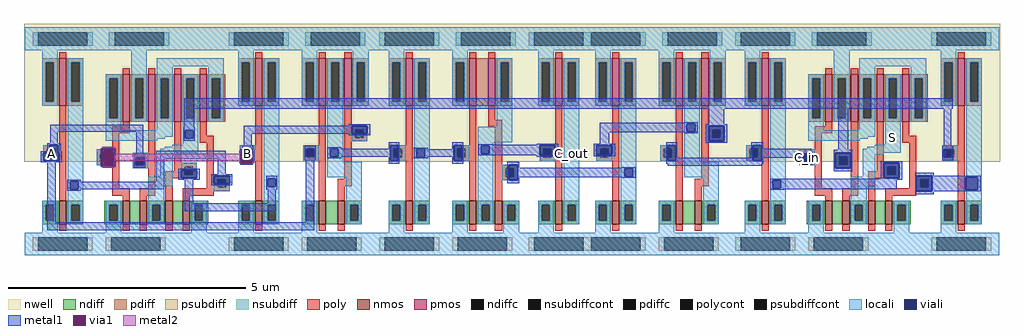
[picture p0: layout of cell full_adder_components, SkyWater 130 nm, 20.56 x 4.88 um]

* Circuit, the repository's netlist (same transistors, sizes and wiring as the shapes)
* NGSPICE file created from full_adder_components.ext - technology: sky130A

.subckt xor2 VDD GND Y A B NOT_A NOT_B
X0 a_94_6# B GND GND sky130_fd_pr__nfet_01v8 ad=1.05e+11p pd=1.42e+06u as=3.9e+11p ps=3.56e+06u w=500000u l=150000u
X1 a_274_6# NOT_B Y GND sky130_fd_pr__nfet_01v8 ad=1.05e+11p pd=1.42e+06u as=1.95e+11p ps=1.78e+06u w=500000u l=150000u
X2 Y A a_94_6# GND sky130_fd_pr__nfet_01v8 ad=0p pd=0u as=0p ps=0u w=500000u l=150000u
X3 a_n8_438# A VDD VDD sky130_fd_pr__pfet_01v8 ad=1.14e+12p pd=8.28e+06u as=3.9e+11p ps=2.78e+06u w=1e+06u l=150000u
X4 Y NOT_B a_n8_438# VDD sky130_fd_pr__pfet_01v8 ad=3.9e+11p pd=2.78e+06u as=0p ps=0u w=1e+06u l=150000u
X5 GND NOT_A a_274_6# GND sky130_fd_pr__nfet_01v8 ad=0p pd=0u as=0p ps=0u w=500000u l=150000u
X6 a_n8_438# NOT_A Y VDD sky130_fd_pr__pfet_01v8 ad=0p pd=0u as=0p ps=0u w=1e+06u l=150000u
X7 VDD B a_n8_438# VDD sky130_fd_pr__pfet_01v8 ad=0p pd=0u as=0p ps=0u w=1e+06u l=150000u
.ends

.subckt nor2 VDD GND Y A B
X0 Y A GND GND sky130_fd_pr__nfet_01v8 ad=1.95e+11p pd=1.78e+06u as=3.6e+11p ps=3.44e+06u w=500000u l=150000u
X1 GND B Y GND sky130_fd_pr__nfet_01v8 ad=0p pd=0u as=0p ps=0u w=500000u l=150000u
X2 Y B a_94_506# VDD sky130_fd_pr__pfet_01v8 ad=3.6e+11p pd=2.72e+06u as=2.5e+11p ps=2.5e+06u w=1e+06u l=150000u
X3 a_94_506# A VDD VDD sky130_fd_pr__pfet_01v8 ad=0p pd=0u as=3.6e+11p ps=2.72e+06u w=1e+06u l=150000u
.ends

.subckt inv VDD GND Y A
X0 Y A GND GND sky130_fd_pr__nfet_01v8 ad=1.8e+11p pd=1.72e+06u as=1.8e+11p ps=1.72e+06u w=500000u l=150000u
X1 Y A VDD VDD sky130_fd_pr__pfet_01v8 ad=3.6e+11p pd=2.72e+06u as=3.6e+11p ps=2.72e+06u w=1e+06u l=150000u
.ends

.subckt nand2 VDD GND Y A B
X0 a_94_6# A GND GND sky130_fd_pr__nfet_01v8 ad=1.25e+11p pd=1.5e+06u as=1.8e+11p ps=1.72e+06u w=500000u l=150000u
X1 VDD B Y VDD sky130_fd_pr__pfet_01v8 ad=7.2e+11p pd=5.44e+06u as=3.9e+11p ps=2.78e+06u w=1e+06u l=150000u
X2 Y A VDD VDD sky130_fd_pr__pfet_01v8 ad=0p pd=0u as=0p ps=0u w=1e+06u l=150000u
X3 Y B a_94_6# GND sky130_fd_pr__nfet_01v8 ad=1.8e+11p pd=1.72e+06u as=0p ps=0u w=500000u l=150000u
.ends

*.subckt full_adder_components S A B C_in C_out
Xxor2_0 inv_6/VDD inv_6/GND inv_6/A A B inv_1/Y inv_0/Y xor2
Xxor2_1 inv_6/VDD inv_6/GND S inv_6/A C_in inv_6/Y inv_5/Y xor2
Xnor2_0 inv_6/VDD inv_6/GND inv_3/A inv_2/Y inv_4/Y nor2
Xinv_0 inv_6/VDD inv_6/GND inv_0/Y B inv
Xinv_1 inv_6/VDD inv_6/GND inv_1/Y A inv
Xinv_2 inv_6/VDD inv_6/GND inv_2/Y inv_2/A inv
Xinv_3 inv_6/VDD inv_6/GND C_out inv_3/A inv
Xinv_4 inv_6/VDD inv_6/GND inv_4/Y inv_4/A inv
Xinv_5 inv_6/VDD inv_6/GND inv_5/Y C_in inv
Xinv_6 inv_6/VDD inv_6/GND inv_6/Y inv_6/A inv
Xnand2_0 inv_6/VDD inv_6/GND inv_2/A A B nand2
Xnand2_1 inv_6/VDD inv_6/GND inv_4/A C_in inv_6/A nand2
*.ends

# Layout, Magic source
magic
tech sky130A
magscale 1 2
<< poly >>
rect 1716 104 1746 106
<< locali >>
rect -264 864 3840 960
rect -186 433 -159 464
rect -125 433 -120 464
rect -84 312 -18 630
rect 400 528 466 562
rect 400 494 412 528
rect 446 494 466 528
rect 38 380 70 446
rect 400 432 466 494
rect 640 449 706 464
rect 640 434 657 449
rect 190 414 256 432
rect 190 380 203 414
rect 237 380 256 414
rect 640 398 650 434
rect 691 415 706 449
rect 690 398 706 415
rect 190 366 256 380
rect 394 359 460 390
rect -84 278 -74 312
rect -40 278 -18 312
rect -84 230 -18 278
rect 532 270 598 302
rect 742 323 808 630
rect 908 449 974 464
rect 908 415 921 449
rect 955 415 974 449
rect 908 398 974 415
rect 1010 449 1076 630
rect 1112 480 1178 512
rect 1010 415 1022 449
rect 1056 415 1076 449
rect 1010 328 1076 415
rect 1308 398 1340 464
rect 1376 448 1442 630
rect 1376 414 1387 448
rect 1421 414 1442 448
rect 742 289 759 323
rect 793 289 808 323
rect 742 230 808 289
rect 1376 230 1442 414
rect 1576 398 1608 464
rect 1644 461 1710 542
rect 1644 427 1658 461
rect 1692 427 1710 461
rect 1644 230 1710 427
rect 1904 398 1970 422
rect 1746 316 1774 382
rect 2006 230 2072 630
rect 2144 398 2210 424
rect 2246 366 2312 630
rect 2514 555 2580 630
rect 2514 521 2525 555
rect 2559 521 2580 555
rect 2412 398 2444 464
rect 2246 332 2263 366
rect 2297 332 2312 366
rect 2246 230 2312 332
rect 2514 328 2580 521
rect 2774 398 2802 464
rect 2876 317 2942 630
rect 2998 427 3064 446
rect 3360 432 3426 562
rect 3600 447 3666 464
rect 2998 393 3013 427
rect 3047 393 3064 427
rect 2998 380 3064 393
rect 3600 413 3606 447
rect 3640 413 3666 447
rect 3600 398 3666 413
rect 2876 283 2887 317
rect 2921 283 2942 317
rect 2876 230 2942 283
rect 3702 330 3768 630
rect 3751 276 3768 330
rect 3702 230 3768 276
rect -264 0 3840 96
<< viali >>
rect -159 433 -125 466
rect -186 398 -120 433
rect 412 494 446 528
rect 70 380 104 446
rect 657 434 691 449
rect 203 380 237 414
rect 650 415 691 434
rect 650 394 690 415
rect 394 324 460 359
rect -74 278 -40 312
rect 532 302 598 336
rect 921 415 955 449
rect 1112 512 1178 546
rect 1022 415 1056 449
rect 1274 398 1308 464
rect 1387 414 1421 448
rect 759 289 793 323
rect 1542 398 1576 464
rect 1658 427 1692 461
rect 1904 422 1970 464
rect 1774 316 1812 382
rect 2144 424 2210 464
rect 2525 521 2559 555
rect 2444 398 2478 464
rect 2263 332 2297 366
rect 2616 480 2682 546
rect 2802 398 2840 464
rect 3013 393 3047 427
rect 3150 366 3216 432
rect 3606 413 3640 447
rect 3354 324 3420 390
rect 2887 283 2921 317
rect 3492 270 3558 336
rect 3697 276 3751 330
<< metal1 >>
rect 407 618 3645 661
rect -157 520 235 551
rect 407 540 450 618
rect 2513 558 2571 561
rect 2157 555 2571 558
rect 1100 546 1190 552
rect -157 472 -126 520
rect -171 466 -113 472
rect -171 439 -159 466
rect -198 433 -159 439
rect -125 439 -113 466
rect 64 452 110 458
rect -125 433 -108 439
rect -198 398 -186 433
rect -120 398 -108 433
rect -198 392 -108 398
rect -170 140 -135 392
rect 55 374 61 452
rect 113 374 119 452
rect 204 426 235 520
rect 406 528 452 540
rect 406 494 412 528
rect 446 494 452 528
rect 406 482 452 494
rect 657 512 1112 546
rect 1178 512 1190 546
rect 657 461 691 512
rect 1100 506 1190 512
rect 2157 521 2525 555
rect 2559 521 2571 555
rect 2617 552 2682 618
rect 2157 518 2571 521
rect 1268 464 1314 476
rect 651 449 697 461
rect 651 446 657 449
rect 644 440 657 446
rect 691 440 697 449
rect 197 414 243 426
rect 197 380 203 414
rect 237 380 243 414
rect 64 368 110 374
rect 197 368 243 380
rect 290 407 582 440
rect -86 312 -28 318
rect -86 278 -74 312
rect -40 311 -28 312
rect 290 311 323 407
rect 382 359 472 365
rect 382 324 394 359
rect 460 324 472 359
rect 549 342 582 407
rect 696 403 697 440
rect 915 449 961 461
rect 915 415 921 449
rect 955 415 961 449
rect 915 403 961 415
rect 1010 449 1068 455
rect 1010 415 1022 449
rect 1056 448 1068 449
rect 1268 448 1274 464
rect 1056 415 1274 448
rect 1010 409 1068 415
rect 644 382 696 388
rect 382 318 472 324
rect 520 336 610 342
rect -40 278 323 311
rect -86 272 -28 278
rect 410 220 445 318
rect 520 302 532 336
rect 598 302 610 336
rect 520 296 610 302
rect 753 323 799 335
rect 753 289 759 323
rect 793 289 799 323
rect 753 277 799 289
rect 758 220 793 277
rect 410 185 793 220
rect 920 140 955 403
rect 1268 398 1274 415
rect 1308 398 1314 464
rect 1536 464 1582 476
rect 2157 470 2197 518
rect 2513 515 2571 518
rect 2604 546 2694 552
rect 2604 480 2616 546
rect 2682 480 2694 546
rect 1375 448 1433 454
rect 1375 414 1387 448
rect 1421 447 1433 448
rect 1536 447 1542 464
rect 1421 415 1542 447
rect 1421 414 1433 415
rect 1375 408 1433 414
rect 1268 386 1314 398
rect 1536 398 1542 415
rect 1576 398 1582 464
rect 1646 465 1704 467
rect 1892 465 1982 470
rect 1646 464 1982 465
rect 1646 461 1904 464
rect 1646 427 1658 461
rect 1692 427 1904 461
rect 1646 422 1904 427
rect 1970 422 1982 464
rect 1646 421 1704 422
rect 1892 416 1982 422
rect 2132 464 2222 470
rect 2132 424 2144 464
rect 2210 424 2222 464
rect 2132 418 2222 424
rect 2438 464 2484 476
rect 2604 474 2694 480
rect 1536 386 1582 398
rect 2438 398 2444 464
rect 2478 411 2484 464
rect 2796 464 2846 476
rect 2796 411 2802 464
rect 2478 398 2802 411
rect 2840 450 2846 464
rect 2840 439 3049 450
rect 3162 444 3205 618
rect 3607 459 3639 618
rect 3600 447 3646 459
rect 2840 427 3053 439
rect 2840 412 3013 427
rect 2840 398 2846 412
rect 1768 382 1818 394
rect 2438 386 2846 398
rect 3007 393 3013 412
rect 3047 393 3053 427
rect 1768 316 1774 382
rect 1812 368 1818 382
rect 2444 377 2841 386
rect 3007 381 3053 393
rect 3144 432 3222 444
rect 2251 368 2309 372
rect 1812 366 2309 368
rect 1812 332 2263 366
rect 2297 332 2309 366
rect 3144 366 3150 432
rect 3216 366 3222 432
rect 3600 413 3606 447
rect 3640 413 3646 447
rect 3600 401 3646 413
rect 3144 354 3222 366
rect 3342 390 3432 396
rect 1812 330 2309 332
rect 1812 316 1818 330
rect 2251 326 2309 330
rect 3342 324 3354 390
rect 3420 324 3432 390
rect 1768 304 1818 316
rect 2875 322 2933 323
rect 3342 322 3432 324
rect 2875 318 3432 322
rect 3486 336 3564 348
rect 2875 317 3409 318
rect 2875 283 2887 317
rect 2921 283 3409 317
rect 2875 278 3409 283
rect 2875 277 2933 278
rect 3486 270 3492 336
rect 3558 330 3763 336
rect 3558 276 3697 330
rect 3751 276 3763 330
rect 3558 270 3763 276
rect 3486 258 3564 270
rect -170 105 955 140
<< via1 >>
rect 61 446 113 452
rect 61 380 70 446
rect 70 380 104 446
rect 104 380 113 446
rect 61 374 113 380
rect 644 434 657 440
rect 657 434 691 440
rect 644 394 650 434
rect 650 415 691 434
rect 691 415 696 440
rect 650 394 690 415
rect 690 394 696 415
rect 644 388 696 394
<< metal2 >>
rect 61 452 113 458
rect 638 428 644 440
rect 113 399 644 428
rect 638 388 644 399
rect 696 388 702 440
rect 61 368 113 374
use inv  inv_0
transform 1 0 642 0 1 124
box -84 -124 242 852
use inv  inv_1
transform 1 0 -184 0 1 124
box -84 -124 242 852
use inv  inv_2
transform 1 0 1276 0 1 124
box -84 -124 242 852
use inv  inv_3
transform 1 0 1906 0 1 124
box -84 -124 242 852
use inv  inv_4
transform 1 0 2146 0 1 124
box -84 -124 242 852
use inv  inv_5
transform 1 0 2776 0 1 124
box -84 -124 242 852
use inv  inv_6
transform 1 0 3602 0 1 124
box -84 -124 242 852
use nand2  nand2_0
transform 1 0 910 0 1 124
box -84 -124 350 852
use nand2  nand2_1
transform 1 0 2414 0 1 124
box -84 -124 350 852
use nor2  nor2_0
transform 1 0 1544 0 1 124
box -84 -124 350 852
use xor2  xor2_0
transform 1 0 84 0 1 124
box -84 -124 566 852
use xor2  xor2_1
transform 1 0 3044 0 1 124
box -84 -124 566 852
<< labels >>
flabel locali s 3360 432 3426 562 0 FreeSerif 320 0 0 0 S
port 0 nsew
flabel locali s 2998 380 3064 446 0 FreeSerif 320 0 0 0 C_in
port 7 nsew
flabel locali s 2006 230 2072 630 0 FreeSerif 320 0 0 0 C_out
port 10 nsew
flabel locali s -186 398 -120 464 0 FreeSerif 320 0 0 0 A
port 1 nsew
flabel locali s 640 398 706 464 0 FreeSerif 320 0 0 0 B
port 2 nsew
<< end >>

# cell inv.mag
magic
tech sky130A
<< nwell >>
rect -42 135 121 426
<< nmos >>
rect 32 3 47 53
<< pmos >>
rect 32 253 47 353
<< ndiff >>
rect -4 45 32 53
rect -4 11 4 45
rect 21 11 32 45
rect -4 3 32 11
rect 47 45 83 53
rect 47 11 58 45
rect 75 11 83 45
rect 47 3 83 11
<< pdiff >>
rect -4 345 32 353
rect -4 261 4 345
rect 21 261 32 345
rect -4 253 32 261
rect 47 345 83 353
rect 47 261 58 345
rect 75 261 83 345
rect 47 253 83 261
<< ndiffc >>
rect 4 11 21 45
rect 58 11 75 45
<< pdiffc >>
rect 4 261 21 345
rect 58 261 75 345
<< psubdiff >>
rect -24 -52 -12 -24
rect 91 -52 103 -24
<< nsubdiff >>
rect -24 380 -12 408
rect 91 380 103 408
<< psubdiffcont >>
rect -12 -52 91 -24
<< nsubdiffcont >>
rect -12 380 91 408
<< poly >>
rect 32 353 47 366
rect 32 170 47 253
rect -1 162 47 170
rect -1 145 7 162
rect 24 145 47 162
rect -1 137 47 145
rect 32 53 47 137
rect 32 -10 47 3
<< polycont >>
rect 7 145 24 162
<< locali >>
rect -40 408 119 418
rect -40 380 -12 408
rect 91 380 119 408
rect -40 370 119 380
rect -4 345 29 370
rect -4 261 4 345
rect 21 261 29 345
rect -4 253 29 261
rect 50 345 83 353
rect 50 261 58 345
rect 75 261 83 345
rect -1 162 32 170
rect -1 145 7 162
rect 24 145 32 162
rect -1 137 32 145
rect -4 45 29 53
rect -4 11 4 45
rect 21 11 29 45
rect -4 -14 29 11
rect 50 45 83 261
rect 50 11 58 45
rect 75 11 83 45
rect 50 3 83 11
rect -40 -24 119 -14
rect -40 -52 -12 -24
rect 91 -52 119 -24
rect -40 -62 119 -52
<< labels >>
flabel locali -40 -62 119 -14 1 FreeSerif 80 0 0 0 GND!
port 1 n
flabel locali 50 53 83 253 1 FreeSerif 80 0 0 0 Y
port 2 n
flabel locali -1 137 32 170 0 FreeSerif 80 0 0 0 A
port 3 nsew
flabel locali -40 370 119 418 0 FreeSerif 80 0 0 0 VDD!
port 0 nsew
<< end >>

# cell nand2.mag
magic
tech sky130A
<< nwell >>
rect -42 135 175 426
<< nmos >>
rect 32 3 47 53
rect 72 3 87 53
<< pmos >>
rect 32 253 47 353
rect 86 253 101 353
<< ndiff >>
rect -4 45 32 53
rect -4 11 4 45
rect 21 11 32 45
rect -4 3 32 11
rect 47 3 72 53
rect 87 45 123 53
rect 87 11 98 45
rect 115 11 123 45
rect 87 3 123 11
<< pdiff >>
rect -4 345 32 353
rect -4 261 4 345
rect 21 261 32 345
rect -4 253 32 261
rect 47 345 86 353
rect 47 261 58 345
rect 75 261 86 345
rect 47 253 86 261
rect 101 345 137 353
rect 101 261 112 345
rect 129 261 137 345
rect 101 253 137 261
<< ndiffc >>
rect 4 11 21 45
rect 98 11 115 45
<< pdiffc >>
rect 4 261 21 345
rect 58 261 75 345
rect 112 261 129 345
<< psubdiff >>
rect -4 -52 8 -24
rect 111 -52 123 -24
<< nsubdiff >>
rect 3 380 15 408
rect 118 380 130 408
<< psubdiffcont >>
rect 8 -52 111 -24
<< nsubdiffcont >>
rect 15 380 118 408
<< poly >>
rect 32 353 47 366
rect 86 353 101 366
rect 32 170 47 253
rect -1 162 47 170
rect -1 145 7 162
rect 24 145 47 162
rect -1 137 47 145
rect 32 53 47 137
rect 86 211 101 253
rect 86 203 134 211
rect 86 186 109 203
rect 126 186 134 203
rect 86 178 134 186
rect 86 99 101 178
rect 72 84 101 99
rect 72 53 87 84
rect 32 -10 47 3
rect 72 -10 87 3
<< polycont >>
rect 7 145 24 162
rect 109 186 126 203
<< locali >>
rect -40 408 173 418
rect -40 380 15 408
rect 118 380 173 408
rect -40 370 173 380
rect -4 345 29 370
rect -4 261 4 345
rect 21 261 29 345
rect -4 253 29 261
rect 50 345 83 353
rect 50 261 58 345
rect 75 261 83 345
rect -1 162 32 170
rect -1 145 7 162
rect 24 145 32 162
rect -1 137 32 145
rect 50 135 83 261
rect 104 345 137 370
rect 104 261 112 345
rect 129 261 137 345
rect 104 253 137 261
rect 101 203 134 211
rect 101 186 109 203
rect 126 186 134 203
rect 101 178 134 186
rect 50 102 123 135
rect -4 45 29 53
rect -4 11 4 45
rect 21 11 29 45
rect -4 -14 29 11
rect 90 45 123 102
rect 90 11 98 45
rect 115 11 123 45
rect 90 3 123 11
rect -40 -24 173 -14
rect -40 -52 8 -24
rect 111 -52 173 -24
rect -40 -62 173 -52
<< labels >>
flabel locali -1 137 32 170 0 FreeSerif 80 0 0 0 A
port 3 nsew
flabel locali 101 178 134 211 0 FreeSerif 80 0 0 0 B
port 8 nsew
flabel locali 50 102 83 253 0 FreeSerif 80 0 0 0 Y
port 2 nsew
flabel locali -40 370 173 418 0 FreeSerif 80 0 0 0 VDD!
port 0 nsew
flabel locali -40 -62 173 -14 0 FreeSerif 80 0 0 0 GND!
port 1 nsew
<< end >>

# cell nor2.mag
magic
tech sky130A
<< nwell >>
rect -42 135 175 426
<< nmos >>
rect 32 3 47 53
rect 86 3 101 53
<< pmos >>
rect 32 253 47 353
rect 72 253 87 353
<< ndiff >>
rect -4 45 32 53
rect -4 11 4 45
rect 21 11 32 45
rect -4 3 32 11
rect 47 45 86 53
rect 47 11 58 45
rect 75 11 86 45
rect 47 3 86 11
rect 101 45 137 53
rect 101 11 112 45
rect 129 11 137 45
rect 101 3 137 11
<< pdiff >>
rect -4 345 32 353
rect -4 261 4 345
rect 21 261 32 345
rect -4 253 32 261
rect 47 253 72 353
rect 87 345 123 353
rect 87 261 98 345
rect 115 261 123 345
rect 87 253 123 261
<< ndiffc >>
rect 4 11 21 45
rect 58 11 75 45
rect 112 11 129 45
<< pdiffc >>
rect 4 261 21 345
rect 98 261 115 345
<< psubdiff >>
rect -4 -52 8 -24
rect 111 -52 123 -24
<< nsubdiff >>
rect 3 380 15 408
rect 118 380 130 408
<< psubdiffcont >>
rect 8 -52 111 -24
<< nsubdiffcont >>
rect 15 380 118 408
<< poly >>
rect 32 353 47 366
rect 72 353 87 366
rect 32 170 47 253
rect 72 224 87 253
rect 72 209 101 224
rect -1 162 47 170
rect -1 145 7 162
rect 24 145 47 162
rect -1 137 47 145
rect 32 53 47 137
rect 86 129 101 209
rect 86 121 134 129
rect 86 104 109 121
rect 126 104 134 121
rect 86 96 134 104
rect 86 53 101 96
rect 32 -10 47 3
rect 86 -9 101 3
<< polycont >>
rect 7 145 24 162
rect 109 104 126 121
<< locali >>
rect -40 408 173 418
rect -40 380 15 408
rect 118 380 173 408
rect -40 370 173 380
rect -4 345 29 370
rect -4 261 4 345
rect 21 261 29 345
rect -4 253 29 261
rect 90 345 123 353
rect 90 261 98 345
rect 115 261 123 345
rect 90 209 123 261
rect 50 176 123 209
rect -1 162 32 170
rect -1 145 7 162
rect 24 145 32 162
rect -1 137 32 145
rect -4 45 29 53
rect -4 11 4 45
rect 21 11 29 45
rect -4 -14 29 11
rect 50 45 83 176
rect 101 121 134 129
rect 101 104 109 121
rect 126 104 134 121
rect 101 96 134 104
rect 50 11 58 45
rect 75 11 83 45
rect 50 3 83 11
rect 104 45 137 53
rect 104 11 112 45
rect 129 11 137 45
rect 104 -14 137 11
rect -40 -24 173 -14
rect -40 -52 8 -24
rect 111 -52 173 -24
rect -40 -62 173 -52
<< labels >>
flabel locali 101 96 134 129 0 FreeSerif 80 0 0 0 B
port 8 nsew
flabel locali -1 137 32 170 0 FreeSerif 80 0 0 0 A
port 3 nsew
flabel locali 50 53 83 209 0 FreeSerif 80 0 0 0 Y
port 2 nsew
flabel locali -40 370 173 418 0 FreeSerif 80 0 0 0 VDD!
port 0 nsew
flabel locali -40 -62 173 -14 0 FreeSerif 80 0 0 0 GND!
port 1 nsew
<< end >>

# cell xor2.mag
magic
tech sky130A
<< nwell >>
rect -42 135 283 426
<< nmos >>
rect 32 3 47 53
rect 68 3 83 53
rect 122 3 137 53
rect 158 3 173 53
<< pmos >>
rect 32 219 47 319
rect 86 219 101 319
rect 140 219 155 319
rect 194 219 209 319
<< ndiff >>
rect -7 45 32 53
rect -7 11 4 45
rect 21 11 32 45
rect -7 3 32 11
rect 47 3 68 53
rect 83 45 122 53
rect 83 11 94 45
rect 111 11 122 45
rect 83 3 122 11
rect 137 3 158 53
rect 173 45 212 53
rect 173 11 184 45
rect 201 11 212 45
rect 173 3 212 11
<< pdiff >>
rect -4 311 32 319
rect -4 227 4 311
rect 21 227 32 311
rect -4 219 32 227
rect 47 311 86 319
rect 47 227 58 311
rect 75 227 86 311
rect 47 219 86 227
rect 101 311 140 319
rect 101 227 112 311
rect 129 227 140 311
rect 101 219 140 227
rect 155 311 194 319
rect 155 227 166 311
rect 183 227 194 311
rect 155 219 194 227
rect 209 311 248 319
rect 209 227 220 311
rect 237 227 248 311
rect 209 219 248 227
<< ndiffc >>
rect 4 11 21 45
rect 94 11 111 45
rect 184 11 201 45
<< pdiffc >>
rect 4 227 21 311
rect 58 227 75 311
rect 112 227 129 311
rect 166 227 183 311
rect 220 227 237 311
<< psubdiff >>
rect -4 -52 8 -24
rect 111 -52 123 -24
<< nsubdiff >>
rect 3 380 15 408
rect 118 380 130 408
<< psubdiffcont >>
rect 8 -52 111 -24
<< nsubdiffcont >>
rect 15 380 118 408
<< poly >>
rect 32 319 47 332
rect 86 319 101 332
rect 140 319 155 332
rect 194 319 209 332
rect 32 210 47 219
rect 10 195 47 210
rect 10 161 25 195
rect -23 153 25 161
rect 86 154 101 219
rect -23 136 -15 153
rect 2 136 25 153
rect -23 128 25 136
rect 10 79 25 128
rect 53 146 101 154
rect 53 129 61 146
rect 78 129 101 146
rect 53 121 101 129
rect 86 79 101 121
rect 140 133 155 219
rect 194 190 209 219
rect 194 175 224 190
rect 140 125 188 133
rect 140 115 163 125
rect 10 64 47 79
rect 32 53 47 64
rect 68 64 101 79
rect 122 108 163 115
rect 180 108 188 125
rect 122 100 188 108
rect 209 106 224 175
rect 68 53 83 64
rect 122 53 137 100
rect 209 98 257 106
rect 209 81 232 98
rect 249 81 257 98
rect 209 79 257 81
rect 158 73 257 79
rect 158 64 224 73
rect 158 53 173 64
rect 32 -10 47 3
rect 68 -10 83 3
rect 122 -10 137 3
rect 158 -10 173 3
<< polycont >>
rect -15 136 2 153
rect 61 129 78 146
rect 163 108 180 125
rect 232 81 249 98
<< locali >>
rect -40 408 281 418
rect -40 380 15 408
rect 118 380 281 408
rect -40 370 281 380
rect -4 311 29 319
rect -4 227 4 311
rect 21 227 29 311
rect -4 201 29 227
rect 50 311 83 370
rect 50 227 58 311
rect 75 227 83 311
rect 50 219 83 227
rect 104 336 245 353
rect 104 311 137 336
rect 104 227 112 311
rect 129 227 137 311
rect 104 201 137 227
rect -4 188 137 201
rect 158 311 191 319
rect 158 227 166 311
rect 183 227 191 311
rect -4 184 121 188
rect -4 179 105 184
rect 158 171 191 227
rect 212 311 245 336
rect 212 227 220 311
rect 237 227 245 311
rect 212 219 245 227
rect 136 167 191 171
rect 120 162 191 167
rect -23 153 10 161
rect 111 154 191 162
rect -23 136 -15 153
rect 2 136 10 153
rect -23 128 10 136
rect 53 146 86 154
rect 53 129 61 146
rect 78 129 86 146
rect 53 121 86 129
rect 111 150 155 154
rect 111 104 137 150
rect 86 83 137 104
rect 155 125 188 133
rect 155 108 163 125
rect 180 108 188 125
rect 155 100 188 108
rect 224 98 257 106
rect -4 45 29 53
rect -4 11 4 45
rect 21 11 29 45
rect -4 -14 29 11
rect 86 45 119 83
rect 224 81 232 98
rect 249 81 257 98
rect 224 73 257 81
rect 86 11 94 45
rect 111 11 119 45
rect 86 3 119 11
rect 176 45 209 53
rect 176 11 184 45
rect 201 11 209 45
rect 176 -14 209 11
rect -40 -24 281 -14
rect -40 -52 8 -24
rect 111 -52 281 -24
rect -40 -62 281 -52
<< labels >>
flabel locali -40 370 281 418 0 FreeSerif 80 0 0 0 VDD!
port 0 nsew
flabel locali -40 -62 281 -14 0 FreeSerif 80 0 0 0 GND!
port 1 nsew
flabel locali 53 121 86 154 0 FreeSerif 80 0 0 0 A
port 11 nsew
flabel locali -23 128 10 161 0 FreeSerif 80 0 0 0 B
port 12 nsew
flabel locali 158 154 191 219 0 FreeSerif 80 0 0 0 Y
port 4 nsew
flabel locali 155 100 188 133 0 FreeSerif 80 0 0 0 NOT_B
port 14 nsew
flabel locali 224 73 257 106 0 FreeSerif 80 0 0 0 NOT_A
port 13 nsew
<< end >>
